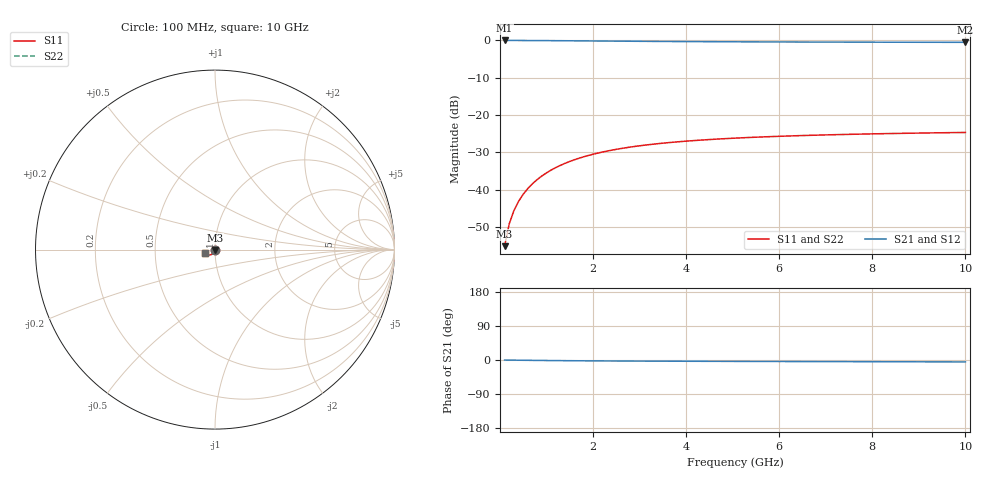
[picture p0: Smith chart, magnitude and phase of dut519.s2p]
! Touchstone file exported from HFSS 2024.1.0
!  File:  C:/UserFiles/LocalFiles/RDL_TSV_Batchsim/temp_TSV1_519_1779703253.aedt
!  Generated:  06:07:07 PM May 25, 2026
!  Design:  TSV1
!  Project:  temp_TSV1_519_1779703253
!  Setup:  Setup1
!  Solution:  Sweep
! Variables:
!  dtsv = 14.52um
!  hbump = 3um
!  htsv = 76.18um
!  lrdl = 252.1521522um
!  p = 40
!  p1 = 51.73um
!  t = 500um
!  trdl = 3um
!  wrdl = 24.89489489um
# GHz S MA R 50.000000
! Terminal data exported
! Port[1] = TSV22_T1
! Port[2] = TSV22_T2
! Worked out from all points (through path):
!   100 points, 100 MHz to 10 GHz, reference 50 ohm
!   highest |S21| = 0.00 dB at 100 MHz (marker M1); lowest = -0.5 dB at 10 GHz (marker M2)
!   lowest |S11| = -55.2 dB at 100 MHz (marker M3), VSWR 1.00, Z = 50 - j0.175 ohm
!   |S11| at or under -10 dB: start of sweep to end of sweep
!   |S22| runs from -55.2 to -24.7 dB; largest |S21 - S12| = 4.9e-15
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0.1  0.001747 -89.2  0.9999 -0.1  0.9999 -0.1  0.001747 -89.2
! Gamma 0 0 0 0
! Port Impedance 50 0 50 0
0.2  0.003492 -92.1  0.9997 -0.3  0.9997 -0.3  0.003492 -92.1
0.3  0.005235 -94.2  0.9994 -0.4  0.9994 -0.4  0.005235 -94.2
0.4  0.006967 -96.2  0.999 -0.6  0.999 -0.6  0.006967 -96.2
0.5  0.00868 -98.1  0.9985 -0.7  0.9985 -0.7  0.00868 -98.1
0.6  0.01037 -100.0  0.9979 -0.8  0.9979 -0.8  0.01037 -100.0
0.7  0.01203 -101.8  0.9973 -1.0  0.9973 -1.0  0.01203 -101.8
0.8  0.01365 -103.5  0.9965 -1.1  0.9965 -1.1  0.01365 -103.5
0.9  0.01524 -105.2  0.9957 -1.2  0.9957 -1.2  0.01524 -105.2
1.1  0.0183 -108.6  0.994 -1.4  0.994 -1.4  0.0183 -108.6
1.4  0.02255 -113.2  0.9909 -1.8  0.9909 -1.8  0.02255 -113.2
1.6  0.02516 -116.1  0.9888 -2.0  0.9888 -2.0  0.02516 -116.1
1.8  0.02758 -118.9  0.9866 -2.1  0.9866 -2.1  0.02758 -118.9
2.1  0.03088 -122.7  0.9833 -2.4  0.9833 -2.4  0.03088 -122.7
2.5  0.03471 -127.3  0.9791 -2.6  0.9791 -2.6  0.03471 -127.3
2.9  0.03796 -131.3  0.9751 -2.8  0.9751 -2.8  0.03796 -131.3
3.4  0.04136 -135.7  0.9706 -3.1  0.9706 -3.1  0.04136 -135.7
4.2  0.04562 -141.6  0.9645 -3.4  0.9645 -3.4  0.04562 -141.6
5.1  0.04919 -146.9  0.959 -3.7  0.959 -3.7  0.04919 -146.9
6.7  0.05354 -154.0  0.952 -4.1  0.952 -4.1  0.05355 -154.0
8.4  0.05652 -159.7  0.947 -4.6  0.947 -4.6  0.05652 -159.7
10  0.05841 -163.9  0.9437 -5.1  0.9437 -5.1  0.05841 -163.9
